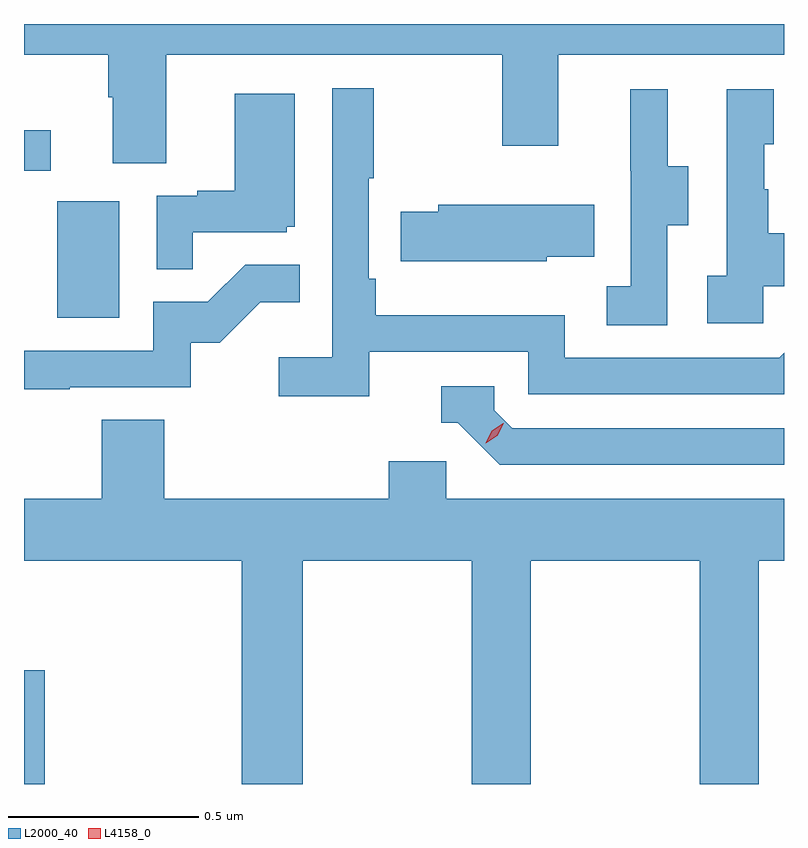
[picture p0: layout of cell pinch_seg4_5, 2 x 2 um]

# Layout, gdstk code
import gdstk
lib = gdstk.Library(unit=1e-6, precision=1e-09)
def R(c, l, rs):  # rectangles x0, y0, x1, y1
    for r in rs: c.add(gdstk.rectangle(r[:2], r[2:], *l))
def P(c, l, *ps):  # polygons
    for p in ps: c.add(gdstk.Polygon(p, *l))
L2000_40 = (2000, 40)
L4158_0 = (4158, 0)

pinch_seg4_5 = lib.new_cell('pinch_seg4_5')
R(pinch_seg4_5, L2000_40, [(1084.313,822.873,1084.367,823.172), (1084.4,824.1,1084.564,824.407), (1084.313,824.487,1084.384,824.593)])
P(pinch_seg4_5, L2000_40, [(1084.687,824.792),(1085.572,824.792),(1085.572,824.553),(1085.719,824.553),(1085.719,824.792),(1086.313,824.792),(1086.313,824.873),(1084.313,824.873),(1084.313,824.792),(1084.535,824.792),(1084.535,824.68),(1084.547,824.68),(1084.547,824.506),(1084.687,824.506)],
  [(1085.222,824.01),(1085.64,824.01),(1085.64,823.899),(1086.313,823.899),(1086.313,824.008),(1086.3,823.995),(1085.736,823.995),(1085.736,824.107),(1085.239,824.107),(1085.239,824.203),(1085.22,824.203),(1085.22,824.467),(1085.233,824.467),(1085.233,824.704),(1085.124,824.704),(1085.124,823.996),(1084.983,823.996),(1084.983,823.894),(1085.222,823.894)],
  [(1086.006,824.344),(1086.061,824.344),(1086.061,824.499),(1086.007,824.499),(1086.007,824.701),(1085.909,824.701),(1085.909,824.487),(1085.91,824.487),(1085.91,824.183),(1085.847,824.183),(1085.847,824.08),(1086.006,824.08)],
  [(1086.258,824.183),(1086.313,824.183),(1086.313,824.323),(1086.271,824.323),(1086.271,824.438),(1086.261,824.438),(1086.261,824.556),(1086.286,824.556),(1086.286,824.701),(1086.162,824.701),(1086.162,824.21),(1086.111,824.21),(1086.111,824.085),(1086.258,824.085)],
  [(1084.757,824.325),(1085.004,824.325),(1085.004,824.34),(1085.026,824.34),(1085.026,824.689),(1084.868,824.689),(1084.868,824.434),(1084.769,824.434),(1084.769,824.421),(1084.662,824.421),(1084.662,824.227),(1084.757,824.227)],
  [(1085.688,824.261),(1085.813,824.261),(1085.813,824.398),(1085.403,824.398),(1085.403,824.379),(1085.305,824.379),(1085.305,824.249),(1085.688,824.249)],
  [(1084.433,823.917),(1084.752,823.917),(1084.752,824.034),(1084.828,824.034),(1084.935,824.141),(1085.039,824.141),(1085.039,824.24),(1084.895,824.24),(1084.797,824.142),(1084.653,824.142),(1084.653,824.013),(1084.313,824.013),(1084.313,823.912),(1084.433,823.912)],
  [(1086.313,823.809),(1085.598,823.809),(1085.55,823.857),(1085.55,823.92),(1085.411,823.92),(1085.411,823.824),(1085.454,823.824),(1085.565,823.713),(1086.313,823.713)],
  [(1085.046,823.46),(1085.491,823.46),(1085.491,822.873),(1085.646,822.873),(1085.646,823.46),(1086.091,823.46),(1086.091,822.873),(1086.246,822.873),(1086.246,823.46),(1086.313,823.46),(1086.313,823.624),(1085.424,823.624),(1085.424,823.722),(1085.273,823.722),(1085.273,823.624),(1084.682,823.624),(1084.682,823.832),(1084.517,823.832),(1084.517,823.624),(1084.313,823.624),(1084.313,823.46),(1084.886,823.46),(1084.886,822.873),(1085.046,822.873)])
P(pinch_seg4_5, L4158_0, [(1085.528,823.77),(1085.528,823.77),(1085.544,823.803),(1085.574,823.822),(1085.575,823.822),(1085.575,823.822),(1085.559,823.789),(1085.528,823.77)])

lib.write_gds('pinch_seg4_5.gds')
